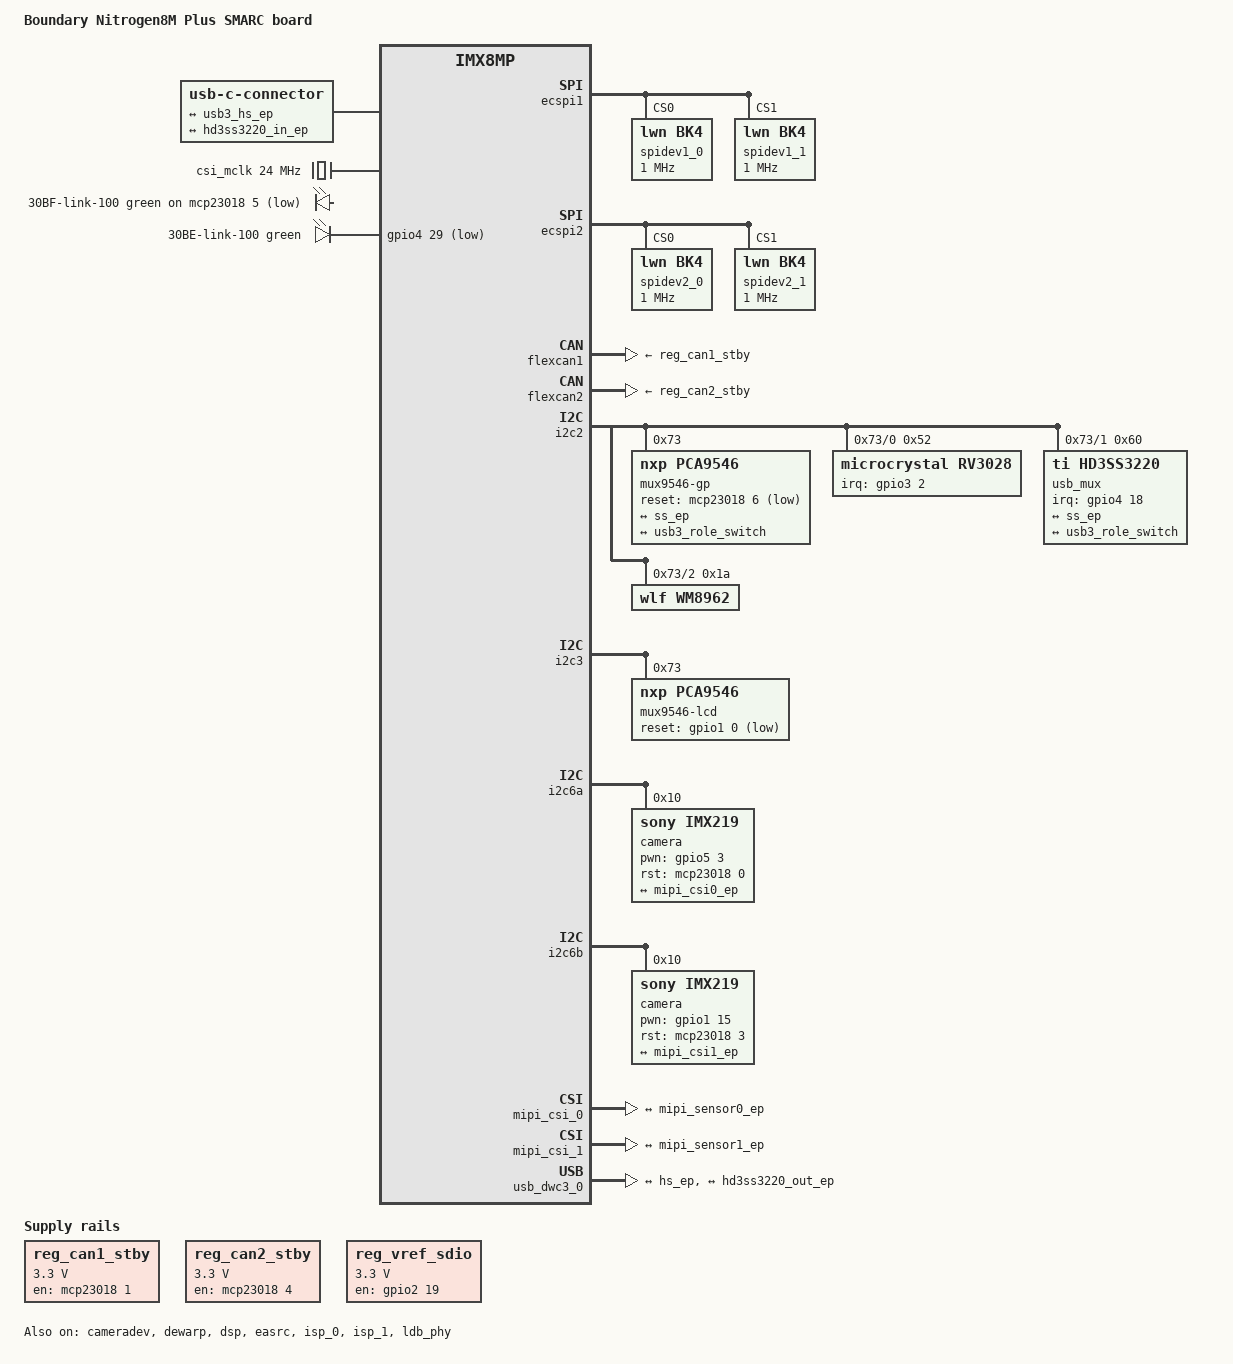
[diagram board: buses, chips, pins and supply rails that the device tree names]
// SPDX-License-Identifier: (GPL-2.0+ OR MIT)
/*
 * Copyright 2023 Boundary Devices
 */

/dts-v1/;

#include <dt-bindings/usb/pd.h>
#include <dt-bindings/leds/common.h>
#include "imx8mp-nitrogen_smarc-som.dtsi"

#include "../panel-m101nwwb.dtsi"

/ {
	model = "Boundary Nitrogen8M Plus SMARC board";
	compatible = "boundary,imx8mp-nitrogen_smarc", "fsl,imx8mp";

	aliases {
		backlight_lvds2 = &backlight_lvds2;
		backlight_lvds = &backlight_lvds;
		backlight_mipi = &backlight_mipi;
		ethernet0 = &eqos;
		ethernet1 = &fec;
		fb_hdmi = &lcdif3;
		fb_lvds2 = &lcdif2;
		fb_lvds = &lcdif2;
		fb_mipi = &mipi_fb;
		lcdif = &lcdif1;
		ldb_chan2 = &ldb_chan2;
		ldb_chan = &ldb_chan;
		ldb = &ldb;
		mipi_dsi_bridge = &mipi_dsi;
		mipi_dsi = &mipi_dsi;
		mipi = &mipi_fb;
		mipi_to_lvds = &mipi_to_lvds;
		pcie-phy = &pcie_phy;
		pwm_lvds2 = &pwm1;
		pwm_lvds = &pwm2;
		pwm_mipi = &pwm2;
		rtc0 = &rv3028;
		rtc1 = &snvs_rtc;
		sound_hdmi= &sound_hdmi;
		t_lvds2 = &t_lvds2;
		t_lvds = &t_lvds;
		t_mipi = &mipi_t;
		ts_ft5x06 = &ts_mipi_ft5x06;
		ts_goodix = &ts_mipi_goodix;
		ts_lvds_ft5x06 = &ts_lvds_ft5x06;
		ts_lvds_goodix = &ts_lvds_goodix;
		ts_lvds_goodix2 = &ts_lvds_goodix2;
		usb_mux = &usb_mux;
	};

	backlight_lvds: backlight-lvds {
		brightness-levels = <0 1 2 3 4 5 6 7 8 9 10>;
		compatible = "pwm-backlight";
		display = <&lcdif2>;
		default-brightness-level = <8>;
		enable-gpios = <&gpio3 15 GPIO_ACTIVE_HIGH>;
		pinctrl-names = "default";
		pinctrl-0 = <&pinctrl_backlight_lvds>;
		pwms = <&pwm2 0 100000 0>;
		status = "disabled";
	};

	backlight_lvds2: backlight-lvds2 {
		brightness-levels = <0 1 2 3 4 5 6 7 8 9 10>;
		compatible = "pwm-backlight";
		display = <&lcdif2>;
		default-brightness-level = <8>;
		enable-gpios = <&gpio3 5 GPIO_ACTIVE_HIGH>;
		pinctrl-names = "default";
		pinctrl-0 = <&pinctrl_backlight_lvds2>;
		pwms = <&pwm1 0 100000 0>;
		status = "disabled";
	};

	backlight_mipi: backlight-mipi {
		brightness-levels = <0 1 2 3 4 5 6 7 8 9 10>;
		compatible = "pwm-backlight";
		default-brightness-level = <8>;
		display = <&backlight_mipi>;
		pwms = <&pwm2 0 30000 0>;
		status = "disabled";
	};

	chosen {
		stdout-path = &uart2;
	};

	connector {
		compatible = "usb-c-connector";
		label = "USB-C";
		data-role = "dual";

		ports {
			#address-cells = <1>;
			#size-cells = <0>;

			port@0 {
				reg = <0>;
				hs_ep: endpoint {
					remote-endpoint = <&usb3_hs_ep>;
				};
			};

			port@1 {
				reg = <1>;
				ss_ep: endpoint {
					remote-endpoint = <&hd3ss3220_in_ep>;
				};
			};
		};
	};

	csi_mclk: csi-mclk {
		#clock-cells = <0>;
		clock-frequency = <24000000>;
		compatible = "fixed-clock";
	};

	led-controller {
		compatible = "gpio-leds";
		pinctrl-names = "default";
		pinctrl-0 = <&pinctrl_leds>;

		led-0 {
			label = "30BF-link-100";
			function = LED_FUNCTION_STATUS;
			color = <LED_COLOR_ID_GREEN>;
			gpios = <&mcp23018 5 GPIO_ACTIVE_LOW>;
			default-state = "off";
			linux,default-trigger = "stmmac-0:07:100Mbps";
		};

		led-1 {
			label = "30BE-link-100";
			function = LED_FUNCTION_STATUS;
			color = <LED_COLOR_ID_GREEN>;
			gpios = <&gpio4 29 GPIO_ACTIVE_LOW>;
			default-state = "off";
			linux,default-trigger = "30be0000.ethernet-1:07:100Mbps";
		};
	};

	reg_can1_stby: regulator-can1-stby {
		compatible = "regulator-fixed";
		regulator-name = "can1-stby";
		regulator-min-microvolt = <3300000>;
		regulator-max-microvolt = <3300000>;
		gpio = <&mcp23018 1 GPIO_ACTIVE_HIGH>;
		enable-active-high;
	};

	reg_can2_stby: regulator-can2-stby {
		compatible = "regulator-fixed";
		regulator-name = "can2-stby";
		regulator-min-microvolt = <3300000>;
		regulator-max-microvolt = <3300000>;
		gpio = <&mcp23018 4 GPIO_ACTIVE_HIGH>;
		enable-active-high;
	};

	reg_vref_sdio: regulator-vref-sdio {
		compatible = "regulator-fixed-clock";
		clocks = <&rv3028>;
		regulator-name = "vref-sdio-3v3";
		regulator-min-microvolt = <3300000>;
		regulator-max-microvolt = <3300000>;
		gpio = <&gpio2 19 GPIO_ACTIVE_HIGH>;
		enable-active-high;
	};

	sound-wm8962 {
		compatible = "fsl,imx-audio-wm8962";
		audio-codec = <&wm8962>;
		audio-cpu = <&sai3>;
		audio-routing =
			"Headphone Jack", "HPOUTL",
			"Headphone Jack", "HPOUTR",
			"Ext Spk", "SPKOUTL",
			"Ext Spk", "SPKOUTR",
			"AMIC", "MICBIAS",
			"IN1R", "AMIC",
			"IN2R", "AMIC",
			"IN3L", "AMIC",
			"IN3R", "AMIC";
		codec-master;
		model = "wm8962-audio";
		status = "okay";
	};
};

&cameradev {
	status = "okay";
};

&dewarp {
	status = "okay";
};

&dsp {
	status = "okay";
};

&easrc {
	fsl,asrc-rate  = <48000>;
	status = "okay";
};

&ecspi1 {
	status = "okay";

	spidev1_0: spi@0 {
		reg = <0>;
		compatible = "lwn,bk4";
		spi-max-frequency = <1000000>;
	};

	spidev1_1: spi@1 {
		reg = <1>;
		compatible = "lwn,bk4";
		spi-max-frequency = <1000000>;
	};
};

&ecspi2 {
	status = "okay";

	spidev2_0: spi@0 {
		reg = <0>;
		compatible = "lwn,bk4";
		spi-max-frequency = <1000000>;
	};

	spidev2_1: spi@1 {
		reg = <1>;
		compatible = "lwn,bk4";
		spi-max-frequency = <1000000>;
	};
};

&flexcan1 {
	xceiver-supply = <&reg_can1_stby>;
	status = "okay";
};

&flexcan2 {
	xceiver-supply = <&reg_can2_stby>;
	status = "okay";
};

/* I2C_GP */
&i2c2 {
	mux9546-gp@73 {
		compatible = "nxp,pca9546";
		reg = <0x73>;
		reset-gpios = <&mcp23018 6 (GPIO_ACTIVE_LOW | GPIO_PULL_UP)>;
		#address-cells = <1>;
		#size-cells = <0>;

		i2c_gp_a: i2c2@0 {
			clock-frequency = <100000>;
			reg = <0>;
			#address-cells = <1>;
			#size-cells = <0>;
		};

		i2c_gp_b: i2c2@1 {
			clock-frequency = <100000>;
			reg = <1>;
			#address-cells = <1>;
			#size-cells = <0>;
		};

		i2c_gp_c: i2c2@2 {
			clock-frequency = <100000>;
			reg = <2>;
			#address-cells = <1>;
			#size-cells = <0>;
		};

		i2c_gp_d: i2c2@3 {
			clock-frequency = <100000>;
			reg = <3>;
			#address-cells = <1>;
			#size-cells = <0>;
		};
	};
};

/* I2C_LCD */
&i2c3 {
	mux9546-lcd@73 {
		compatible = "nxp,pca9546";
		pinctrl-names = "default";
		pinctrl-0 = <&pinctrl_mux9546_lcd>;
		reg = <0x73>;
		reset-gpios = <&gpio1 0 GPIO_ACTIVE_LOW>;

		#address-cells = <1>;
		#size-cells = <0>;

		i2c_lcd_a: i2c3@0 {
			/* EDP0 */
			clock-frequency = <100000>;
			reg = <0>;
			#address-cells = <1>;
			#size-cells = <0>;
		};

		i2c_lcd_b: i2c3@1 {
			/* EDP1 */
			clock-frequency = <100000>;
			reg = <1>;
			#address-cells = <1>;
			#size-cells = <0>;
		};

		i2c_lcd_c: i2c3@2 {
			/* DSI0 */
			clock-frequency = <100000>;
			reg = <2>;
			#address-cells = <1>;
			#size-cells = <0>;
		};

		i2c_lcd_d: i2c3@3 {
			/* DSI1 */
			clock-frequency = <100000>;
			reg = <3>;
			#address-cells = <1>;
			#size-cells = <0>;
		};
	};
};

/* I2C_PM */
&i2c4 {
	ts_lvds_ft5x06: touchscreen@38 {
		compatible = "edt,ft5x06-ts";
		interrupts-extended = <&gpio4 2 IRQ_TYPE_EDGE_FALLING>;
		pinctrl-names = "default";
		pinctrl-0 = <&pinctrl_ts_lvds_ft5x06>;
		reg = <0x38>;
		status = "disabled";
		wakeup-gpios = <&gpio4 2 GPIO_ACTIVE_LOW>;
	};

	ts_lvds_goodix: touchscreen@14 {
		compatible = "goodix,gt9271";
		esd-recovery-timeout-ms = <2000>;
		interrupts-extended = <&gpio4 2 IRQ_TYPE_LEVEL_HIGH>;
		irq-gpios = <&gpio4 2 GPIO_ACTIVE_HIGH>;
		pinctrl-names = "default";
		pinctrl-0 = <&pinctrl_ts_lvds_gt911>;
		reg = <0x14>;
		reset-gpios = <&mcp23018 8 (GPIO_OPEN_DRAIN | GPIO_PULL_UP)>;
		status = "disabled";
	};

	ts_lvds_goodix2: touchscreen@5d {
		compatible = "goodix,gt9271";
		esd-recovery-timeout-ms = <2000>;
		interrupts-extended = <&gpio4 2 IRQ_TYPE_LEVEL_HIGH>;
		irq-gpios = <&gpio4 2 GPIO_ACTIVE_HIGH>;
		pinctrl-names = "default";
		pinctrl-0 = <&pinctrl_ts_lvds_gt911>;
		reg = <0x5d>;
		reset-gpios = <&mcp23018 8 (GPIO_OPEN_DRAIN | GPIO_PULL_UP)>;
		status = "disabled";
	};
};

/* I2C_CAM0 */
&i2c6a {
	camera@10 {
		compatible = "sony,imx219";
		reg = <0x10>;
		clocks = <&csi_mclk>;
		csi_id = <0>;
		pwn-gpios = <&gpio5 3 GPIO_ACTIVE_HIGH>;
		rst-gpios = <&mcp23018 0 (GPIO_ACTIVE_HIGH | GPIO_PULL_UP)>;
		status = "okay";

		port {
			mipi_sensor0_ep: endpoint {
				remote-endpoint = <&mipi_csi0_ep>;
				data-lanes = <1 2>;
				clock-lanes = <0>;
				clock-noncontinuous;
				link-frequencies = /bits/ 64 <456000000>;
			};
		};
	};
};

/* I2C_CAM1 */
&i2c6b {
	camera@10 {
		compatible = "sony,imx219";
		reg = <0x10>;
		clocks = <&csi_mclk>;
		csi_id = <1>;
		pwn-gpios = <&gpio1 15 GPIO_ACTIVE_HIGH>;
		rst-gpios = <&mcp23018 3 (GPIO_ACTIVE_HIGH | GPIO_PULL_UP)>;
		status = "okay";

		port {
			mipi_sensor1_ep: endpoint {
				remote-endpoint = <&mipi_csi1_ep>;
				data-lanes = <1 2>;
				clock-lanes = <0>;
				clock-noncontinuous;
				link-frequencies = /bits/ 64 <456000000>;
			};
		};
	};
};

&i2c_gp_a {
	rv3028: rtc@52 {
		pinctrl-names = "default";
		pinctrl-0 = <&pinctrl_rv3028>;
		backup-switchover-dsm;
		#clock-cells = <0>;
		compatible = "microcrystal,rv3028";
		reg = <0x52>;
		interrupts-extended = <&gpio3 2 IRQ_TYPE_LEVEL_LOW>;
		wakeup-source;
	};
};

&i2c_gp_b {
	usb_mux: hd3ss3220@60 {
		compatible = "ti,hd3ss3220";
		interrupts-extended = <&gpio4 18 IRQ_TYPE_LEVEL_LOW>;
		pinctrl-names = "default";
		pinctrl-0 = <&pinctrl_hd3ss3220>;
		reg = <0x60>;

		ports {
			#address-cells = <1>;
			#size-cells = <0>;

			port@0 {
				reg = <0>;
				hd3ss3220_in_ep: endpoint {
					remote-endpoint = <&ss_ep>;
				};
			};

			port@1 {
				reg = <1>;
				hd3ss3220_out_ep: endpoint {
					remote-endpoint = <&usb3_role_switch>;
				};
			};
		};
	};
};

&i2c_gp_c {
	wm8962: codec@1a {
		#sound-dai-cells = <0>;
		clocks = <&audio_blk_ctrl IMX8MP_CLK_AUDIOMIX_SAI3_MCLK1>;
		compatible = "wlf,wm8962";
		gpio-cfg = <
			0x0000
			0x0000
			0x0000
			0x0000
			0x8081
			0x8095
		>;
		reg = <0x1a>;
	};
};

&i2c_lcd_c {
	ts_mipi_ft5x06: touchscreen@38 {
		compatible = "edt,ft5x06-ts";
		interrupts-extended = <&gpio3 15 IRQ_TYPE_EDGE_FALLING>;
		pinctrl-names = "default";
		pinctrl-0 = <&pinctrl_ts_mipi_ft5x06>;
		reg = <0x38>;
		reset-gpios = <&mcp23018 7 (GPIO_ACTIVE_LOW | GPIO_PULL_UP)>;
		status = "disabled";
		wakeup-gpios = <&gpio3 15 GPIO_ACTIVE_LOW>;
	};

	ts_mipi_goodix: touchscreen@5d {
		compatible = "goodix,gt9271";
		display = <&display_subsystem>;
		esd-recovery-timeout-ms = <2000>;
		interrupts-extended = <&gpio3 15 IRQ_TYPE_LEVEL_HIGH>;
		irq-gpios = <&gpio3 15 GPIO_ACTIVE_HIGH>;
		pinctrl-names = "default";
		pinctrl-0 = <&pinctrl_ts_mipi_gt911>;
		reg = <0x5d>;
		reset-gpios = <&mcp23018 7 (GPIO_ACTIVE_HIGH | GPIO_PULL_UP)>;
		status = "disabled";
	};
};

&iomuxc {
	pinctrl-names = "default";
	pinctrl-0 = <&pinctrl_hog>;

	pinctrl_backlight_lvds: backlight-lvdsgrp {
		fsl,pins = <
			MX8MP_IOMUXC_NAND_RE_B__GPIO3_IO15	0x100
		>;
	};

	pinctrl_backlight_lvds2: backlight-lvds2grp {
		fsl,pins = <
			MX8MP_IOMUXC_NAND_CLE__GPIO3_IO05	0x100
		>;
	};

	pinctrl_hd3ss3220: hd3ss3220grp {
		fsl,pins = <
			MX8MP_IOMUXC_SAI1_TXD6__GPIO4_IO18	0x1c0
		>;
	};

	pinctrl_hog: hoggrp {
		fsl,pins = <
			MX8MP_IOMUXC_GPIO1_IO11__GPIO1_IO11	0x140
			MX8MP_IOMUXC_GPIO1_IO08__GPIO1_IO08	0x140
			MX8MP_IOMUXC_SAI1_TXD7__GPIO4_IO19	0x140
			MX8MP_IOMUXC_GPIO1_IO10__GPIO1_IO10	0x140
			MX8MP_IOMUXC_SPDIF_TX__GPIO5_IO03	0x140
		>;
	};

	pinctrl_leds: ledsgrp {
		fsl,pins = <
			MX8MP_IOMUXC_SAI3_RXC__GPIO4_IO29	0x100
		>;
	};

	pinctrl_mipi_sn65dsi83: mipi-sc18is602bgrp {
		fsl,pins = <
			MX8MP_IOMUXC_SAI1_RXD1__GPIO4_IO03	0x100
			MX8MP_IOMUXC_GPIO1_IO06__GPIO1_IO06	0x180
		>;
	};

	pinctrl_mux9546_lcd: mux9546-lcdgrp {
		fsl,pins = <
			MX8MP_IOMUXC_GPIO1_IO00__GPIO1_IO00	0x140
		>;
	};

	pinctrl_rv3028: rv3028grp {
		fsl,pins = <
			MX8MP_IOMUXC_NAND_CE1_B__GPIO3_IO02	0x140
		>;
	};

	pinctrl_ts_lvds_ft5x06: ts-lvds-ft5x06grp {
		fsl,pins = <
			MX8MP_IOMUXC_SAI1_RXD0__GPIO4_IO02	0x1c0
		>;
	};

	pinctrl_ts_lvds_gt911: ts-lvds-gt911grp {
		fsl,pins = <
			MX8MP_IOMUXC_SAI1_RXD0__GPIO4_IO02	0x1c0
		>;
	};

	pinctrl_ts_mipi_ft5x06: ts-mipi-ft5x06grp {
		fsl,pins = <
			MX8MP_IOMUXC_NAND_RE_B__GPIO3_IO15	0x1c0
		>;
	};

	pinctrl_ts_mipi_gt911: ts-mipi-gt911grp {
		fsl,pins = <
			MX8MP_IOMUXC_NAND_RE_B__GPIO3_IO15	0x1c0
		>;
	};
};

&isp_0 {
	status = "okay";
};

&isp_1 {
	status = "okay";
};

&ldb {
	lvds-channel@0 {
		backlight = <&backlight_lvds>;
		fsl,data-mapping = "spwg";
		fsl,data-width = <24>;

		display-timings {
			t_lvds: t_lvds_default {

				clock-frequency = <74250000>;
				hactive = <1280>;
				vactive = <800>;
				hback-porch = <5>;
				hfront-porch = <123>;
				vback-porch = <3>;
				vfront-porch = <24>;
				hsync-len = <1>;
				vsync-len = <1>;
			};
		};
	};

	lvds-channel@1 {
		backlight = <&backlight_lvds2>;
		fsl,data-mapping = "spwg";
		fsl,data-width = <24>;

		display-timings {
			t_lvds2: t_lvds_default {

				clock-frequency = <74250000>;
				hactive = <1280>;
				vactive = <800>;
				hback-porch = <5>;
				hfront-porch = <123>;
				vback-porch = <3>;
				vfront-porch = <24>;
				hsync-len = <1>;
				vsync-len = <1>;
			};
		};
	};
};

&ldb_phy {
	status = "okay";
};

&mipi_csi_0 {
	#address-cells = <1>;
	#size-cells = <0>;
	status = "okay";

	port@0 {
		reg = <0>;

		mipi_csi0_ep: endpoint {
			csis-hs-settle = <13>;
			csis-clk-settle = <2>;
			csis-wclk;
			data-lanes = <2>;
			remote-endpoint = <&mipi_sensor0_ep>;
		};
	};
};

&mipi_csi_1 {
	#address-cells = <1>;
	#size-cells = <0>;
	status = "okay";

	port@1 {
		reg = <1>;

		mipi_csi1_ep: endpoint {
			csis-hs-settle = <13>;
			csis-clk-settle = <2>;
			csis-wclk;
			data-lanes = <2>;
			remote-endpoint = <&mipi_sensor1_ep>;
		};
	};
};

&mipi_dsi {
	status = "disabled";

	mipi_fb: panel@0 {
		backlight = <&backlight_mipi>;
		bits-per-color = <8>;
		bridge-de-active = <0>;
		bus-format = "rgb888";
		clocks = <&mipi_dsi 0>, <&clk 273>;
		clock-names = "mipi_clk", "pixel_clock";
		compatible = "panel,common";
		dsi-format = "rgb888";
		dsi-lanes = <4>;
		mode-skip-eot;
		mode-video;
		mode-video-burst;
		panel-height-mm = <136>;
		panel-width-mm = <217>;
		pinctrl-names = "sn65dsi83";
		pinctrl-0 = <&pinctrl_mipi_sn65dsi83>;
		power-supply = <&reg_vref_5v0>;
		reg = <0>;
		sn65dsi83 = <&mipi_to_lvds>;
		spwg;

		display-timings {
			mipi_t: t-dsi-default {
				clock-frequency = <71700000>;
				hactive = <1280>;
				vactive = <800>;
				hback-porch = <5>;
				hfront-porch = <151>;
				vback-porch = <2>;
				vfront-porch = <28>;
				hsync-len = <4>;
				vsync-len = <1>;
				hsync-active = <0>;
				vsync-active = <0>;
				de-active = <1>;
			};
		};

		mipi_to_lvds: mipi-to-lvds {
			alias = <&mipi_to_lvds>;
			enable-gpios = <&gpio4 3 GPIO_ACTIVE_HIGH>;
			i2c-address = <0x2c>;
			i2c-bus = <&i2c_lcd_c>;
			interrupts-extended = <&gpio1 6 IRQ_TYPE_LEVEL_HIGH>;
			status = "disabled";
		};
	};
};

&usb_dwc3_0 {
	usb-role-switch;

	ports {
		#address-cells = <1>;
		#size-cells = <0>;

		port@0 {
			reg = <0>;
			usb3_hs_ep: endpoint {
				remote-endpoint = <&hs_ep>;
			};
		};

		port@1 {
			reg = <1>;
			usb3_role_switch: endpoint {
				remote-endpoint = <&hd3ss3220_out_ep>;
			};
		};
	};
};

#if 0 /* for M.2 usage only */
&usdhc2 {
	vmmc-supply = <&reg_vref_sdio>;
};
#endif
